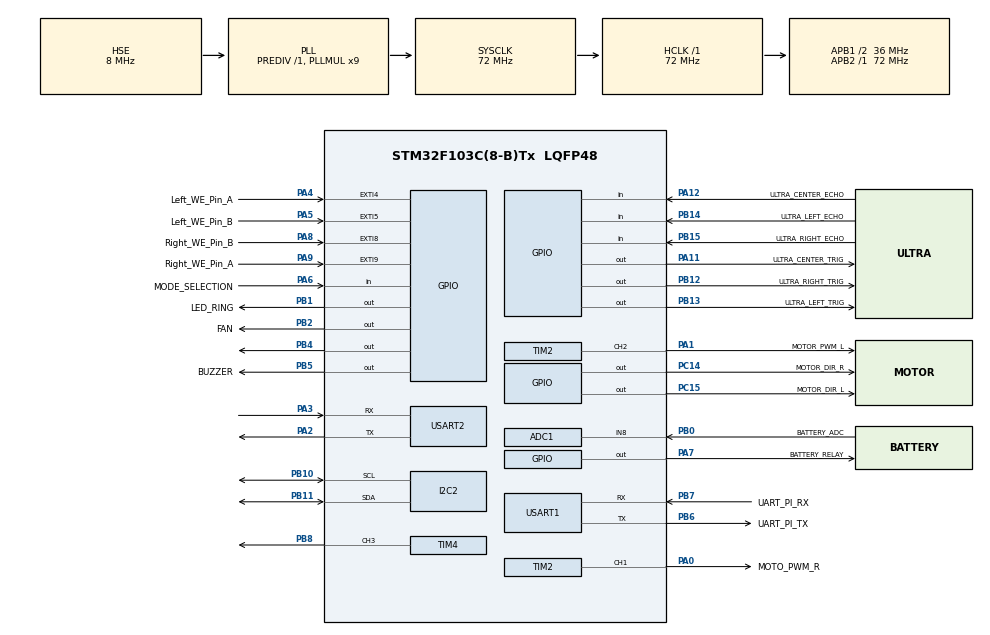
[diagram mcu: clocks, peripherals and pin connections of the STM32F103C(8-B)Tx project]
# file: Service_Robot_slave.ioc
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ADC1.Channel-0\#ChannelRegularConversion=ADC_CHANNEL_8
ADC1.NbrOfConversionFlag=1
ADC1.Rank-0\#ChannelRegularConversion=1
ADC1.SamplingTime-0\#ChannelRegularConversion=ADC_SAMPLETIME_1CYCLE_5
ADC1.master=1
Dma.Request0=TIM4_CH3
Dma.TIM4_CH3.0.Direction=DMA_MEMORY_TO_PERIPH
Dma.TIM4_CH3.0.Instance=DMA1_Channel5
Dma.TIM4_CH3.0.MemDataAlignment=DMA_MDATAALIGN_HALFWORD
Dma.TIM4_CH3.0.MemInc=DMA_MINC_ENABLE
Dma.TIM4_CH3.0.Mode=DMA_NORMAL
Dma.TIM4_CH3.0.PeriphDataAlignment=DMA_PDATAALIGN_HALFWORD
Dma.TIM4_CH3.0.PeriphInc=DMA_PINC_DISABLE
Dma.TIM4_CH3.0.Priority=DMA_PRIORITY_LOW
Mcu.Family=STM32F1
Mcu.Name=STM32F103C(8-B)Tx
Mcu.Package=LQFP48
NVIC.DMA1_Channel5_IRQn=true\:0\:0\:false\:false\:true\:false\:true\:true
NVIC.EXTI4_IRQn=true\:0\:0\:false\:false\:true\:true\:true\:true
NVIC.EXTI9_5_IRQn=true\:2\:0\:true\:false\:true\:true\:true\:true
NVIC.PriorityGroup=NVIC_PRIORITYGROUP_4
NVIC.TIM3_IRQn=true\:1\:0\:true\:false\:true\:true\:true\:true
NVIC.USART1_IRQn=true\:3\:0\:true\:false\:true\:true\:true\:true
NVIC.USART2_IRQn=true\:0\:0\:true\:false\:true\:true\:true\:true
PA0-WKUP.GPIO_Label=MOTO_PWM_R
PA0-WKUP.Signal=S_TIM2_CH1_ETR
PA1.GPIO_Label=MOTOR_PWM_L
PA1.Signal=S_TIM2_CH2
PA11.GPIO_Label=ULTRA_CENTER_TRIG
PA11.Signal=GPIO_Output
PA12.GPIO_Label=ULTRA_CENTER_ECHO
PA12.Signal=GPIO_Input
PA13.Mode=Serial_Wire
PA13.Signal=SYS_JTMS-SWDIO
PA14.Mode=Serial_Wire
PA14.Signal=SYS_JTCK-SWCLK
PA2.Mode=Asynchronous
PA2.Signal=USART2_TX
PA3.Mode=Asynchronous
PA3.Signal=USART2_RX
PA4.GPIO_Label=Left_WE_Pin_A
PA4.GPIO_ModeDefaultEXTI=GPIO_MODE_IT_RISING
PA4.Signal=GPXTI4
PA5.GPIO_Label=Left_WE_Pin_B
PA5.GPIO_ModeDefaultEXTI=GPIO_MODE_IT_RISING
PA5.Signal=GPXTI5
PA6.GPIO_Label=MODE_SELECTION
PA6.Signal=GPIO_Input
PA7.GPIO_Label=BATTERY_RELAY
PA7.Signal=GPIO_Output
PA8.GPIO_Label=Right_WE_Pin_B
PA8.GPIO_ModeDefaultEXTI=GPIO_MODE_IT_RISING
PA8.Signal=GPXTI8
PA9.GPIO_Label=Right_WE_Pin_A
PA9.Signal=GPXTI9
PB0.GPIO_Label=BATTERY_ADC
PB0.Signal=ADCx_IN8
PB1.GPIO_Label=LED_RING
PB1.Signal=GPIO_Output
PB10.Mode=I2C
PB10.Signal=I2C2_SCL
PB11.Mode=I2C
PB11.Signal=I2C2_SDA
PB12.GPIO_Label=ULTRA_RIGHT_TRIG
PB12.Signal=GPIO_Output
PB13.GPIO_Label=ULTRA_LEFT_TRIG
PB13.Signal=GPIO_Output
PB14.GPIO_Label=ULTRA_LEFT_ECHO
PB14.Signal=GPIO_Input
PB15.GPIO_Label=ULTRA_RIGHT_ECHO
PB15.Signal=GPIO_Input
PB2.GPIO_Label=FAN
PB2.Signal=GPIO_Output
PB4.Signal=GPIO_Output
PB5.GPIO_Label=BUZZER
PB5.Signal=GPIO_Output
PB6.GPIO_Label=UART_PI_TX
PB6.Mode=Asynchronous
PB6.Signal=USART1_TX
PB7.GPIO_Label=UART_PI_RX
PB7.Mode=Asynchronous
PB7.Signal=USART1_RX
PB8.Signal=S_TIM4_CH3
PC14-OSC32_IN.GPIO_Label=MOTOR_DIR_R
PC14-OSC32_IN.Signal=GPIO_Output
PC15-OSC32_OUT.GPIO_Label=MOTOR_DIR_L
PC15-OSC32_OUT.Signal=GPIO_Output
PD0-OSC_IN.Mode=HSE-External-Oscillator
PD0-OSC_IN.Signal=RCC_OSC_IN
PD1-OSC_OUT.Mode=HSE-External-Oscillator
PD1-OSC_OUT.Signal=RCC_OSC_OUT
ProjectManager.HeapSize=0x200
ProjectManager.StackSize=0x400
ProjectManager.TargetToolchain=STM32CubeIDE
RCC.ADCPresc=RCC_ADCPCLK2_DIV6
RCC.AHBFreq_Value=72000000
RCC.APB1CLKDivider=RCC_HCLK_DIV2
RCC.APB1Freq_Value=36000000
RCC.APB1TimFreq_Value=72000000
RCC.APB2Freq_Value=72000000
RCC.APB2TimFreq_Value=72000000
RCC.HCLKFreq_Value=72000000
RCC.PLLMUL=RCC_PLL_MUL9
RCC.PLLSourceVirtual=RCC_PLLSOURCE_HSE
RCC.SYSCLKFreq_VALUE=72000000
RCC.SYSCLKSource=RCC_SYSCLKSOURCE_PLLCLK
RCC.USBFreq_Value=72000000
SH.ADCx_IN8.0=ADC1_IN8,IN8
SH.S_TIM2_CH1_ETR.0=TIM2_CH1,PWM Generation1 CH1
SH.S_TIM2_CH2.0=TIM2_CH2,PWM Generation2 CH2
SH.S_TIM4_CH3.0=TIM4_CH3,PWM Generation3 CH3
TIM1.Prescaler=72 - 1
TIM2.Channel-PWM\ Generation1\ CH1=TIM_CHANNEL_1
TIM2.Channel-PWM\ Generation2\ CH2=TIM_CHANNEL_2
TIM2.Period=100
TIM2.Prescaler=28.8 - 1
TIM2.Pulse-PWM\ Generation1\ CH1=50
TIM3.AutoReloadPreload=TIM_AUTORELOAD_PRELOAD_ENABLE
TIM3.Period=7200
TIM3.Prescaler=1000
TIM4.Channel-PWM\ Generation3\ CH3=TIM_CHANNEL_3
TIM4.Period=90-1
USART1.VirtualMode=VM_ASYNC
USART2.VirtualMode=VM_ASYNC
VP_TIM1_VS_ClockSourceINT.Mode=Internal
VP_TIM2_VS_ClockSourceINT.Mode=Internal
VP_TIM3_VS_ClockSourceINT.Mode=Internal
VP_TIM4_VS_ClockSourceINT.Mode=Internal
board=custom

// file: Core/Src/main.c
/* USER CODE BEGIN Header */
/**
 ******************************************************************************
 * @file           : main.c
 * @brief          : Main program body
 ******************************************************************************
 * @attention
 *
 * <h2><center>&copy; Copyright (c) 2022 STMicroelectronics.
 * All rights reserved.</center></h2>
 *
 * This software component is licensed by ST under BSD 3-Clause license,
 * the "License"; You may not use this file except in compliance with the
 * License. You may obtain a copy of the License at:
 *                        opensource.org/licenses/BSD-3-Clause
 *
 ******************************************************************************
 */
/* USER CODE END Header */
#include "main.h"
#include "adc.h"
#include "dma.h"
#include "i2c.h"
#include "tim.h"
#include "usart.h"
#include "gpio.h"

/* USER CODE BEGIN Includes */
#include "HSCR04.h"
#include "stdio.h"
#include "rgb.h"
#include "MPU6050.h"
#include "ring_buffer.h"
#include "stdio.h"
#include "string.h"
#include <stdbool.h>

/* USER CODE END Includes */

/* USER CODE BEGIN PTD */
uint16_t center_ultra();
#define TRIG_PIN GPIO_PIN_11
#define TRIG_PORT GPIOA
#define ECHO_PIN GPIO_PIN_12
#define ECHO_PORT GPIOA
#define DHT11_PORT GPIOB
#define DHT11_PIN GPIO_PIN_4

/* USER CODE END PTD */

/* USER CODE BEGIN PV */

Mpu6050_Data IMU_Data;

uint16_t right_ultrasonic_data, centre_ultrasonic_data, left_ultrasonic_data;
uint16_t RHI, RHD, TCI, TCD, SUM;
uint32_t pMill, cMill;
uint8_t rx_frame[25], rx_print_frame[25];
uint8_t tx_frame[22]={0xF7, 0xF6, 0x00, 0x00, 0xF1, 0x00, 0x00, 0x00, 0x09, 0x00, 0x08, 0x00, 0x00, 0x00, 0x00, 0x00, 0x00, 0x00, 0x00, 0x00, 0x00, 0xF8};
uint8_t rec_flag=0, packetType=0;
int frame_length=0;

uint16_t PSN=0;
uint8_t PSN_INDEX;
uint8_t rgb_flag;
char string[50];
int left_forward_pulse_count, left_reverse_pulse_count, right_forward_pulse_count, right_reverse_pulse_count;
int left_forward_turns, left_reverse_turns, right_forward_turns, right_reverse_turns, right_ticks, left_ticks;
uint8_t left_state, left_PrevState = 0, right_state, right_PrevState = 0;

/* USER CODE END PV */

void SystemClock_Config(void);
/* USER CODE BEGIN PFP */

Frame_Status validate_frame(uint8_t *frame);
void sendResponse(uint8_t *frame, uint8_t resp_type);
void ResponseCallBack(uint8_t *frame);
uint8_t GetUltrasonicData(uint8_t SensorID);
uint8_t GetBMM150MagnetoMeterData(void);
uint8_t GetTemperatureData(void);
uint8_t GetOdometerData(void);
uint8_t GetIMUData(void);
uint8_t GetProximityData(void);
uint8_t GetHallSensorData(void);
uint8_t GetDoorSensorData(void);
uint8_t GetWheelEncoderData(void);
uint8_t GetRainSensorData(void);
uint8_t GetBuzzerData(void);
uint8_t GetFanData(void);
uint8_t GetLimitSwitchData(void);
uint8_t GetLEDStripData(void);
uint8_t GetRelayData(void);

void LeftMotor_forward ();
void LeftMotor_reverse ();
void RightMotor_forward ();
void RightMotor_reverse ();

/* USER CODE END PFP */

/* USER CODE BEGIN 0 */
void Error_Handler(void);
// Define initialization flag
bool isFirstStartup = true;

/* USER CODE END 0 */

uint8_t data_1[] = "For\r";
uint8_t data_2[] = "Rev\r";

#ifdef __GNUC__
#define PUTCHAR_PROTOTYPE int __io_putchar(int ch)
#else
#define PUTCHAR_PROTOTYPE int fputc(int ch, FILE *f)
#endif

PUTCHAR_PROTOTYPE
{
  HAL_UART_Transmit(&huart2, (uint8_t *)&ch, 1, HAL_MAX_DELAY);
  return ch;
}

void microDelay (uint16_t delay)
{
  __HAL_TIM_SET_COUNTER(&htim1, 0);
  while (__HAL_TIM_GET_COUNTER(&htim1) < delay);
}

uint8_t DHT11_Start (void)
{
  uint8_t Response = 0;
  GPIO_InitTypeDef GPIO_InitStructPrivate = {0};
  GPIO_InitStructPrivate.Pin = DHT11_PIN;
  GPIO_InitStructPrivate.Mode = GPIO_MODE_OUTPUT_PP;
  GPIO_InitStructPrivate.Speed = GPIO_SPEED_FREQ_LOW;
  GPIO_InitStructPrivate.Pull = GPIO_NOPULL;
  HAL_GPIO_Init(DHT11_PORT, &GPIO_InitStructPrivate); // set the pin as output
  HAL_GPIO_WritePin (DHT11_PORT, DHT11_PIN, 0);   // pull the pin low
  HAL_Delay(20);   // wait for 20ms
  HAL_GPIO_WritePin (DHT11_PORT, DHT11_PIN, 1);   // pull the pin high
  microDelay (30);   // wait for 30us
  GPIO_InitStructPrivate.Mode = GPIO_MODE_INPUT;
  GPIO_InitStructPrivate.Pull = GPIO_PULLUP;
  HAL_GPIO_Init(DHT11_PORT, &GPIO_InitStructPrivate); // set the pin as input
  microDelay (40);
  if (!(HAL_GPIO_ReadPin (DHT11_PORT, DHT11_PIN)))
  {
    microDelay (80);
    if ((HAL_GPIO_ReadPin (DHT11_PORT, DHT11_PIN))) Response = 1;
  }
  pMill = HAL_GetTick();
  cMill = HAL_GetTick();
  while ((HAL_GPIO_ReadPin (DHT11_PORT, DHT11_PIN)) && pMill + 2 > cMill)
  {
    cMill = HAL_GetTick();
  }
  return Response;
}

uint8_t DHT11_Read (void)
{
  uint8_t a,b;
  for (a=0;a<8;a++)
  {
    pMill = HAL_GetTick();
    cMill = HAL_GetTick();
    while (!(HAL_GPIO_ReadPin (DHT11_PORT, DHT11_PIN)) && pMill + 2 > cMill)
    {  // wait for the pin to go high
      cMill = HAL_GetTick();
    }
    microDelay (40);   // wait for 40 us
    if (!(HAL_GPIO_ReadPin (DHT11_PORT, DHT11_PIN)))   // if the pin is low
      b&= ~(1<<(7-a));
    else
      b|= (1<<(7-a));
    pMill = HAL_GetTick();
    cMill = HAL_GetTick();
    while ((HAL_GPIO_ReadPin (DHT11_PORT, DHT11_PIN)) && pMill + 2 > cMill)
    {  // wait for the pin to go low
      cMill = HAL_GetTick();
    }
  }
  return b;
}

void DHT11_Data()
{
	        RHI = DHT11_Read(); // Relative humidity integral
	        RHD = DHT11_Read(); // Relative humidity decimal
	        TCI = DHT11_Read(); // Celsius integral
	        TCD = DHT11_Read(); // Celsius decimal
	        SUM = DHT11_Read(); // Check sum
	        if (RHI + RHD + TCI + TCD == SUM)
	        {
	          // Can use RHI and TCI for any purposes if whole number only needed
//	          tCelsius = (float)TCI + (float)(TCD/10.0);
//	          tFahrenheit = tCelsius * 9/5 + 32;
//	          RH = (float)RHI + (float)(RHD/10.0);

	          // Convert temperature and humidity to strings
	            sprintf(string, "Temperature: %d.%d C\r\n", TCI, TCD);
	            //sprintf(hum_str, "Humidity: %.2f%%\r\n", RH);

	            // Send temperature and humidity data over UART1
//	              UART1_Send((uint8_t *)temp_str, strlen(temp_str));
//	              UART1_Send((uint8_t *)hum_str, strlen(hum_str));
	            HAL_UART_Transmit(&huart2, (uint8_t *)string, strlen(string), HAL_MAX_DELAY);

	          // Can use tCelsius, tFahrenheit and RH for any purposes
	        }
}

int main(void)
{

  /* MCU Configuration--------------------------------------------------------*/

  /* Reset of all peripherals, Initializes the Flash interface and the Systick. */
  HAL_Init();

  /* USER CODE BEGIN Init */
  PSN=0;
  left_forward_pulse_count=0, left_reverse_pulse_count=0,right_forward_pulse_count=0,right_reverse_pulse_count=0;
  left_forward_turns=0, left_reverse_turns=0, right_forward_turns=0,right_reverse_turns=0;
  left_ticks=0,right_ticks=0;
  /* USER CODE END Init */

  /* Configure the system clock */
  SystemClock_Config();

  /* Initialize all configured peripherals */
  MX_GPIO_Init();
  MX_DMA_Init();
  MX_ADC1_Init();
  MX_TIM2_Init();
  MX_USART1_UART_Init();
  MX_USART2_UART_Init();
  MX_TIM1_Init();
  MX_TIM3_Init();
  MX_TIM4_Init();
  MX_I2C2_Init();
  /* USER CODE BEGIN 2 */

  Ringbuf_init();

  /* RGB */
  Set_Brightness(10);
  Set_RGB_Red();

  MPU6050_Init();

  /*	Ultrasonic */
   HAL_GPIO_WritePin(GPIOA, GPIO_PIN_11, GPIO_PIN_SET);
   HAL_Delay(300);
   HAL_GPIO_WritePin(GPIOA, GPIO_PIN_11, GPIO_PIN_SET);
   HAL_TIM_Base_Start(&htim1);
   HAL_GPIO_WritePin(TRIG_PORT, TRIG_PIN, GPIO_PIN_RESET);

  /* Pi console and Debug console test*/
  HAL_UART_Transmit_IT(&huart1, "Debug console is ready", sizeof("Debug console is ready"));
  //printf("Pi Console is ready");
 HAL_UART_Transmit_IT(&huart2, "Pi console is ready", sizeof("Pi console is ready"));

  /* 100ms timer */
  HAL_TIM_Base_Start_IT(&htim3);

  /* Motor PWM Motor */
  HAL_TIM_Base_Start(&htim2);
  HAL_TIM_PWM_Start(&htim2,TIM_CHANNEL_1);
  HAL_TIM_PWM_Start(&htim2,TIM_CHANNEL_2);

  // Reset Motor PWM at the begining
  __HAL_TIM_SET_COMPARE(&htim2,TIM_CHANNEL_2,0);
  __HAL_TIM_SET_COMPARE(&htim2,TIM_CHANNEL_1,0);

  Set_RGB_Yellow();
  //HAL_UART_Receive_IT(&huart2, rx_frame, 15);

  //** MPU Test Prints *//
  //MPU6050_Read_Accel(&IMU_Data);
  //HAL_Delay(100);
  //MPU6050_Read_Gyro(&IMU_Data);
  //HAL_Delay(1000);

  /* USER CODE END 2 */

  /* Infinite loop */
	while (1)
	{

    /* USER CODE BEGIN 3 */

		/*
		 * Below are all the test prints for sensors
		 */

		/* Wheel encoder prints */

//		if(left_forward_turns>=left_reverse_turns)
//			left_ticks = left_forward_turns - left_reverse_turns;
//		else
//			left_ticks = left_reverse_turns - left_forward_turns;
//
//		if(right_forward_turns >= right_reverse_turns)
//			right_ticks = right_forward_turns - right_reverse_turns;
//		else
//			right_ticks = right_reverse_turns - right_forward_turns;

//		HAL_UART_Transmit(&huart1, (uint8_t *)string, sprintf(string, "left:forward pulse count:%d\n",left_forward_pulse_count),10);
//		HAL_UART_Transmit(&huart1, (uint8_t *)string, sprintf(string, "left:reverse pulse count:%d\n",left_reverse_pulse_count),10);
//		HAL_UART_Transmit(&huart1, (uint8_t *)string, sprintf(string, "right:forward pulse count:%d\n",right_forward_pulse_count),10);
//		HAL_UART_Transmit(&huart1, (uint8_t *)string, sprintf(string, "right:reverse pulse count:%d\n",right_reverse_pulse_count),10);

//		HAL_UART_Transmit(&huart1, (uint8_t *)string, sprintf(string, "Left Ticks:%d\n",left_ticks),10);
//		HAL_UART_Transmit(&huart1, (uint8_t *)string, sprintf(string, "Right Ticks:%d\n",right_ticks),10);

//		HAL_UART_Transmit(&huart1, (uint8_t *)string, sprintf(string, "Left forward turns:%d\n",left_forward_turns),10);
//		HAL_UART_Transmit(&huart1, (uint8_t *)string, sprintf(string, "Left reverse turns:%d\n",left_reverse_turns),10);
//		HAL_UART_Transmit(&huart1, (uint8_t *)string, sprintf(string, "Right forward turns:%d\n",right_forward_turns),10);
//		HAL_UART_Transmit(&huart1, (uint8_t *)string, sprintf(string, "Right reverse turns:%d\n",right_reverse_turns),10);

		/*
		 * Ultrasonic Test Codes
		 */
//
//		left_ultrasonic_data = Left_ultra();
//		HAL_UART_Transmit(&huart1, (uint8_t *)string, sprintf(string, "Left Ultrasonic Data:%d\n",left_ultrasonic_data), 100);
//		HAL_Delay(100);
//////
//		right_ultrasonic_data = right_ultra();
//		HAL_UART_Transmit(&huart1, (uint8_t *)string, sprintf(string, "Right Ultrasonic Data:%d\n",right_ultrasonic_data), 100);
//		HAL_Delay(100);
//
//		centre_ultrasonic_data = center_ultra();
//		HAL_UART_Transmit(&huart1, (uint8_t *)string, sprintf(string, "Centre Ultrasonic Data:%d\n",centre_ultrasonic_data), 100);
//		HAL_Delay(100);

		while(IsDataAvailable()){

		rx_frame[frame_length]=Uart_read();
		rx_print_frame[frame_length]=rx_frame[frame_length];
		if(rx_frame[10]==0x10)
		{
			right_ticks=0;
			left_ticks=0;
		}
		if (rx_frame[6]==0x10)
		{
			// Reseting the wheel encoder data
		left_forward_pulse_count, left_reverse_pulse_count, right_forward_pulse_count, right_reverse_pulse_count=0;
		left_forward_turns, left_reverse_turns, right_forward_turns, right_reverse_turns, right_ticks, left_ticks=0;
		}
		if(rx_frame[frame_length] == 0xF8)
		{
			// Print the received data from Pi
//			 HAL_UART_Transmit_IT(&huart1, rx_print_frame, (frame_length+1));
//			 HAL_Delay(7);

			// Storing packet type for further processing
			packetType = rx_frame[4];

			// Validate Frame
			uint8_t frameStatus=validate_frame(rx_frame);

			//sendResponse(rx_frame, frameStatus);
		    if((frameStatus==Frame_Success) && (packetType==CMD))
			{

		    	ResponseCallBack(rx_frame);
				//sendResponse(rx_frame, RESP);
			}

			frame_length=0;
		}
		else
		{
			frame_length++;
		}
		}

		      float R1 = 30000.0;
			  float R2 = 4664.0;
			  HAL_ADC_Start(&hadc1);

			  // Wait for ADC conversion to complete
			  if (HAL_ADC_PollForConversion(&hadc1, HAL_MAX_DELAY) != HAL_OK) {
			      // ADC conversion error
			      continue; // Skip this iteration and try again
			  }

			  // Read ADC value
			  uint16_t sensorValue = HAL_ADC_GetValue(&hadc1);

			  // Calculate voltage using voltage divider circuit
			  // Assuming Vref = 3.3V
			  float voltage = (float)sensorValue * (3.28f / 4095.0f); // Convert ADC value to voltage

			  // Calculate actual battery voltage using voltage divider formula
			  // Vbattery = Vadc * (R1 + R2) / R2
			  float actualBatteryVoltage = voltage * ((R1 + R2) / R2);
			  // Calculate battery percentage within the range of 1.2V to 20.8V
			  float minVoltage = 20.45f;
			  float maxVoltage =22.11f;
			  float pct;

			  if (actualBatteryVoltage <= minVoltage) {
			      pct = 0.0f;
			  } else if (actualBatteryVoltage >= maxVoltage) {
			      pct = 100.0f;
			  } else {
			      pct = ((actualBatteryVoltage - minVoltage) / (maxVoltage - minVoltage)) * 100.0f;
			  }
			  // Store the percentages in an array
			      static float percentages[7] = {0}; // Array to store three percentages
			      static uint8_t index = 0; // Index to keep track of the current reading

			      percentages[index] = pct; // Store the current percentage
			      index = (index + 1)%7; // Increment index

			      // Calculate the average percentage
			      float sum = 0.0f;
			      for (int i = 0; i < 7; i++) {
			          sum += percentages[i];
			      }
			      float avgPercentage = sum / 7.0f;
//			      // The modulus operator helps achieve this cyclic behavior.If index is 18 and you add 1 to it, you get 19.
			      //If you add 1 to 19 and take the remainder when dividing by 20, you get 0, which wraps back around to the start of the array.
			      //This ensures that index stays within the valid range of array indices, preventing it from going out of bounds.
			      // Apply software filter to smooth out fluctuations
//			      static float avgPercentage = 0.0f;
//			      float smoothingFactor = 0.2f; //  smoothing factor
//			      avgPercentage = (smoothingFactor * avgPercentage1) + ((1.0f - smoothingFactor) * avgPercentage);
			      // Calculate the average percentage
			      //int avgPercentage = (percentages[0] + percentages[1] + percentages[2]) / 3;
			  // Print voltage and percentage
			   static float prevPercentage = 0.0f;
			  const float threshold = 3.0f;
			  // Check if the new percentage is within the acceptable range of the previous value
			  float diff = fabs(avgPercentage - prevPercentage);
			  if (diff <= threshold) {
			      // If the difference is within the threshold, use the previous value
			      avgPercentage = prevPercentage;
			  }

			  // Store the current percentage for the next iteration
			  prevPercentage = avgPercentage;
			  char msg[100];
			  //sprintf(msg, "Measured Voltage: %.2f V, Actual Battery Voltage: %.2f V, Battery Percentage: %.2f%%\n", voltage, actualBatteryVoltage, pct);
		      //sprintf(msg, "Percentage: %d %%\r\n", avgPercentage);
			  sprintf(msg, "Percentage: %.1f %%\r\n",avgPercentage);
			  HAL_UART_Transmit(&huart2, (uint8_t *)msg, strlen(msg), HAL_MAX_DELAY);
			  sprintf(msg, "Actual Battery Voltage: %.2f V\r\n", actualBatteryVoltage);
			  HAL_UART_Transmit(&huart2, (uint8_t *)msg, strlen(msg), HAL_MAX_DELAY);
			  if(DHT11_Start())
			  {
				  DHT11_Data();
			  }
			  // If it's the first startup, set the flag to false after the first iteration
			     if (isFirstStartup) {
			         isFirstStartup = false;
			     }
			  // Delay before next iteration
			  HAL_Delay(5000); // Adjust the delay as needed
	}
  /* USER CODE END 3 */
}

void SystemClock_Config(void)
{
  RCC_OscInitTypeDef RCC_OscInitStruct = {0};
  RCC_ClkInitTypeDef RCC_ClkInitStruct = {0};
  RCC_PeriphCLKInitTypeDef PeriphClkInit = {0};

  /** Initializes the RCC Oscillators according to the specified parameters
  * in the RCC_OscInitTypeDef structure.
  */
  RCC_OscInitStruct.OscillatorType = RCC_OSCILLATORTYPE_HSE;
  RCC_OscInitStruct.HSEState = RCC_HSE_ON;
  RCC_OscInitStruct.HSEPredivValue = RCC_HSE_PREDIV_DIV1;
  RCC_OscInitStruct.HSIState = RCC_HSI_ON;
  RCC_OscInitStruct.PLL.PLLState = RCC_PLL_ON;
  RCC_OscInitStruct.PLL.PLLSource = RCC_PLLSOURCE_HSE;
  RCC_OscInitStruct.PLL.PLLMUL = RCC_PLL_MUL9;
  if (HAL_RCC_OscConfig(&RCC_OscInitStruct) != HAL_OK)
  {
    Error_Handler();
  }

  /** Initializes the CPU, AHB and APB buses clocks
  */
  RCC_ClkInitStruct.ClockType = RCC_CLOCKTYPE_HCLK|RCC_CLOCKTYPE_SYSCLK
                              |RCC_CLOCKTYPE_PCLK1|RCC_CLOCKTYPE_PCLK2;
  RCC_ClkInitStruct.SYSCLKSource = RCC_SYSCLKSOURCE_PLLCLK;
  RCC_ClkInitStruct.AHBCLKDivider = RCC_SYSCLK_DIV1;
  RCC_ClkInitStruct.APB1CLKDivider = RCC_HCLK_DIV2;
  RCC_ClkInitStruct.APB2CLKDivider = RCC_HCLK_DIV1;

  if (HAL_RCC_ClockConfig(&RCC_ClkInitStruct, FLASH_LATENCY_2) != HAL_OK)
  {
    Error_Handler();
  }
  PeriphClkInit.PeriphClockSelection = RCC_PERIPHCLK_ADC;
  PeriphClkInit.AdcClockSelection = RCC_ADCPCLK2_DIV6;
  if (HAL_RCCEx_PeriphCLKConfig(&PeriphClkInit) != HAL_OK)
  {
    Error_Handler();
  }
}

/* USER CODE BEGIN 4 */

void HAL_TIM_PeriodElapsedCallback(TIM_HandleTypeDef* htim)
{

	//rainbow_effect_left();
	//HAL_UART_Transmit_IT(&huart2, "1000", sizeof("1000"));
	//HAL_UART_Transmit(&huart2, 10, 22,25);

	tx_frame[14]=tx_frame[13]=tx_frame[15]=tx_frame[16]=tx_frame[17]=tx_frame[18]=0x00;

	//test dummy data://
	//centre_ultrasonic_data =0x9B98;
/*	centre_ultrasonic_data = center_ultra();
	tx_frame[12] = (uint8_t) (centre_ultrasonic_data & 0x00FF);
	tx_frame[11] = (uint8_t) ((centre_ultrasonic_data & 0xFF00)>>8);
	tx_frame[5]  = 0x01;
	tx_frame[6]  = 0x01;

	//HAL_UART_Transmit(&huart2, tx_frame, 22,25);
	//HAL_Delay(7);

	//test dummy data://
	//right_ultrasonic_data =0x9B98;
	right_ultrasonic_data = right_ultra();
	tx_frame[12] = (uint8_t) (right_ultrasonic_data & 0x00FF);
	tx_frame[11] = (uint8_t) ((right_ultrasonic_data & 0xFF00)>>8);
	tx_frame[6]  = 0x02;

	//HAL_UART_Transmit(&huart2, tx_frame, 22,25);
	//HAL_Delay(7);

	//test dummy data:
	//left_ultrasonic_data = 0x9B97;
	left_ultrasonic_data = Left_ultra();
	tx_frame[12] = (uint8_t) (left_ultrasonic_data & 0x00FF);
	tx_frame[11] = (uint8_t) ((left_ultrasonic_data & 0xFF00)>>8);
	tx_frame[6]  = 0x03;

	//HAL_UART_Transmit(&huart2, tx_frame, 22,25);
	//HAL_Delay(7);
*/

	tx_frame[11]=0;
	tx_frame[15]=0;
	tx_frame[12]=tx_frame[13]=tx_frame[14]=tx_frame[16]=tx_frame[17]=tx_frame[18]=0;

	// Update sensor type and ID
	tx_frame[5]  = 0x02;
	tx_frame[6]  = 0x00;

	if(left_forward_turns>=left_reverse_turns)
	{
		tx_frame[15] = 0x0;
		left_ticks = left_forward_turns - left_reverse_turns;

	}
	else
	{
		tx_frame[15] = 0x1;
		left_ticks = left_reverse_turns - left_forward_turns;

	}

	if(right_forward_turns >= right_reverse_turns)
	{
		tx_frame[11] = 0x0;
		right_ticks = right_forward_turns - right_reverse_turns;

	}
	else
	{
		tx_frame[11] = 0x1;
		right_ticks = right_reverse_turns - right_forward_turns;

	}

	/*tx_frame[14] = (uint8_t) (right_ticks & 0x000000FF);
	tx_frame[13] = (uint8_t) ((right_ticks & 0x0000FF00)>>8);
	tx_frame[12] = (uint8_t) ((right_ticks & 0x00FF0000)>>16);

	tx_frame[18] = (uint8_t) (left_ticks & 0x000000FF);
	tx_frame[17] = (uint8_t) ((left_ticks & 0x0000FF00)>>8);
	tx_frame[16] = (uint8_t) ((left_ticks & 0x00FF0000)>>16);*/
//char buffer[16];
	//int i = 15;
	//left_ticks=50;
	//right_ticks=30;
	//printf("Hi");
	HAL_Delay(10);
 // uint8_t wheelEncoder[]={right_forward_turns,right_reverse_turns,left_forward_turns,left_reverse_turns};
 // HAL_UART_Transmit (&huart2, wheelEncoder, sizeof (wheelEncoder), HAL_MAX_DELAY);

  	  	  //int data[] = {right_forward_turns, right_reverse_turns, left_forward_turns, left_reverse_turns};
			int data[] = {right_forward_pulse_count, right_reverse_pulse_count, left_forward_pulse_count, left_reverse_pulse_count};
  	      char buffer[50];  // Adjust the buffer size accordingly

  	      // Convert integers to string
  	      //int len = sprintf(buffer, "%d,%d,%d,%d\n", data[0], data[1], data[2], data[3]);
			int len = sprintf(buffer, "%d,%d,%d,%d\n", data[0], data[1], data[2], data[3]);
  	      // Send data over UART
  	      HAL_UART_Transmit(&huart2, (uint8_t *)buffer, len, HAL_MAX_DELAY);

  //HAL_UART_Transmit_IT(&huart2, "Right_Wheel_Forward_turn\n", sizeof("Right_Wheel_Forward_turn\n"));
  //	HAL_UART_Transmit (&huart2, data_1, sizeof (data_1), 10);
	//HAL_Delay(1);
//	uint8_t data[] = "RIGHT_WHEEL_FORWARD \r\n";
//
//	HAL_UART_Transmit (&huart2, data, sizeof (data), 10);
	//HAL_UART_Transmit(&huart2, (uint8_t*)buffer, sprintf(buffer, "%d\n", right_forward_turns), 500);
//	HAL_Delay(3);
	//HAL_UART_Transmit_IT(&huart2, "Right_Wheel_Reverse_turn\n", sizeof("Right_Wheel_Reverse_turn\n"));
//	HAL_UART_Transmit (&huart2, data_2, sizeof (data_2), 10);
//	uint8_t data2[] = "RIGHT_WHEEL_REVERSE \r\n";
//
//	HAL_UART_Transmit (&huart2, data2, sizeof (data2), 10);
	//HAL_UART_Transmit(&huart2, (uint8_t*)buffer, sprintf(buffer, "%d\r\n", right_reverse_turns), 500);
//	HAL_Delay(3);
//
//
//	uint8_t data3[] = "LEFT_WHEEL_FORWARD \r\n";
//
//	HAL_UART_Transmit (&huart2, data3, sizeof (data3), 10);
	//HAL_UART_Transmit(&huart2, (uint8_t*)buffer, sprintf(buffer, "%d\r\n", left_forward_turns), 500);
//	HAL_Delay(3);
//	//HAL_UART_Transmit_IT(&huart2, "Left_Wheel_Reverse_turn\n", sizeof("Left_Wheel_Reverse_turn\n"));
//	uint8_t data4[] = "LEFT_WHEEL_REVERSE \r\n";
//
//	HAL_UART_Transmit (&huart2, data4, sizeof (data4), 10);
//	HAL_UART_Transmit(&huart2, (uint8_t*)buffer, sprintf(buffer, "%d\r\n", left_reverse_turns), 500);
	/*While run on main application we need to change the right forward pulse count and right_reverse_pulse count to right and left ticks*/
	//HAL_UART_Transmit_IT(&huart1, "Narsi\r\n", sizeof("Narsi\r\n"));
	//HAL_UART_Transmit(&huart2, 1000, 1,25);
	HAL_Delay(3);

}

void HAL_GPIO_EXTI_Callback(uint16_t GPIO_Pin)
{
	//HAL_UART_Transmit(&huart1, "Debug int console ", sizeof("Debug int console "),10);

	if (GPIO_Pin == Right_WE_Pin_A_Pin && HAL_GPIO_ReadPin(GPIOA,Right_WE_Pin_B_Pin) == GPIO_PIN_RESET)
	{
		right_forward_pulse_count++;

//		if(right_forward_pulse_count>=420)
//		{
//			right_forward_turns++;
//			right_forward_pulse_count=0;
//		}

//	if (right_forward_pulse_count>=420)
//	{
//		right_forward_pulse_count=0;
//		__HAL_TIM_SET_COMPARE(&htim2,TIM_CHANNEL_2,0);
//		__HAL_TIM_SET_COMPARE(&htim2,TIM_CHANNEL_1,0);
//	}

	}
	else if(GPIO_Pin == Right_WE_Pin_B_Pin && HAL_GPIO_ReadPin(GPIOA, Right_WE_Pin_A_Pin) == GPIO_PIN_SET)
	{

	}
	else if(GPIO_Pin == Right_WE_Pin_B_Pin && HAL_GPIO_ReadPin(GPIOA, Right_WE_Pin_A_Pin) == GPIO_PIN_RESET)
	{
		right_reverse_pulse_count++;

//		if(right_reverse_pulse_count>=420)
//		{
//				right_reverse_turns++;
//				right_reverse_pulse_count=0;
//		}

//		if (right_reverse_pulse_count>=2100)
//		{
//			right_reverse_pulse_count=0;
//			__HAL_TIM_SET_COMPARE(&htim2,TIM_CHANNEL_2,0);
//			__HAL_TIM_SET_COMPARE(&htim2,TIM_CHANNEL_1,0);
//		}
	}
	else if(GPIO_Pin == Right_WE_Pin_A_Pin && HAL_GPIO_ReadPin(GPIOA, Right_WE_Pin_B_Pin) == GPIO_PIN_SET)
	{

	}
	else if(GPIO_Pin == Left_WE_Pin_A_Pin && HAL_GPIO_ReadPin(GPIOA, Left_WE_Pin_B_Pin) == GPIO_PIN_SET)
	{
		left_forward_pulse_count++;
//		if (left_forward_pulse_count >= 420)
//		{
//			left_forward_turns++;
//			left_forward_pulse_count=0;
//		}

//		if(left_forward_pulse_count>=2100)
//		{
//			left_forward_pulse_count=0;
//				__HAL_TIM_SET_COMPARE(&htim2,TIM_CHANNEL_2,0);
//				__HAL_TIM_SET_COMPARE(&htim2,TIM_CHANNEL_1,0);
//		}

	}
	else if(GPIO_Pin == Left_WE_Pin_B_Pin && HAL_GPIO_ReadPin(GPIOA, Left_WE_Pin_A_Pin) == GPIO_PIN_RESET)
	{

	}
	else if(GPIO_Pin == Left_WE_Pin_B_Pin && HAL_GPIO_ReadPin(GPIOA, Left_WE_Pin_A_Pin) == GPIO_PIN_SET)
	{
		left_reverse_pulse_count++;

//		if(left_reverse_pulse_count >= 420)
//		{
//			left_reverse_turns++;
//			left_reverse_pulse_count=0;
//		}
//		if(left_reverse_pulse_count>=2100)
//		{
//			left_reverse_pulse_count=0;
//			__HAL_TIM_SET_COMPARE(&htim2,TIM_CHANNEL_2,0);
//			__HAL_TIM_SET_COMPARE(&htim2,TIM_CHANNEL_1,0);
//		}
	}
	else if(GPIO_Pin == Left_WE_Pin_A_Pin && HAL_GPIO_ReadPin(GPIOA, Left_WE_Pin_B_Pin) == GPIO_PIN_RESET)
	{

	}

//	switch(GPIO_Pin)
//	{
//		case Right_WE_Pin_A_Pin:
//			if(HAL_GPIO_ReadPin(GPIOA,Right_WE_Pin_B_Pin) == GPIO_PIN_RESET)
//			{
//				right_forward_pulse_count++;
//			}
//	}
}

void sendResponse(uint8_t *frame, uint8_t frame_type)
{
	PSN++;
	frame[2] = (uint8_t)(PSN & 0xFF00);
	frame[3] = (uint8_t)(PSN & 0x00FF);

	frame[4] = frame_type;
	//HAL_UART_Transmit_IT(&huart2, frame, 15);
}

Frame_Status validate_frame(uint8_t frame[])
{
	//HAL_UART_Transmit(&huart1, "debug:amInValidate", sizeof("debug:amInValidate"),100);
	int i=1;
	switch(i)
	{
		case 1:
			if(frame[0]==0xF6)
				i++;
			else
				return Invalid_frame;
		case 2:
			if(frame[1]==0xF7)
				i++;
			else
				return Invalid_frame;
		case 3:
			if(frame[4]==0xF0 || frame[4]== 0xF2 || frame[4]==0xF3)
				i++;
			else
				return Invalid_Packet_Type;
		case 4:
			if(frame[5]>=0 && frame[5]<=0x0F)
				i++;
			else
				return Invalid_Sensor_Type;
		case 5:
			if(frame[6]>=0 && frame[6]<=0x04)
				i++;
			else
				return Invalid_Sensor_ID;
		case 6:
			if(frame[7]>=0 && frame[7]<=0x0F)
				i++;
			else
				return Invalid_Function_ID;
		case 7:
			if(frame[14]==0xF8)
				return Frame_Success;
			else
				return Invalid_frame;
	}
}

/*
CRC_Check()
{

}
*/

void ResponseCallBack(uint8_t *frame)
{
	switch(frame[5])
	{
	case 1:
		rx_frame[10]=GetUltrasonicData(frame[6]);
		break;
	case 2:
		rx_frame[10]=GetBMM150MagnetoMeterData();
		break;
	case 3:
		rx_frame[10]=GetTemperatureData();
		break;
	case 4:
		rx_frame[10]=GetIMUData();
		break;
	case 5:
		rx_frame[10]=GetProximityData();
		break;
	case 6:
		rx_frame[10]=GetWheelEncoderData();
		break;
	case 7:
		rx_frame[10]=GetLimitSwitchData();
		break;
	case 8:
	{
		if (frame[6]==0x00)
		{
			HAL_TIM_Base_Stop_IT(&htim3);
		}
		else if (frame[6]==0x01)
			HAL_TIM_Base_Start_IT(&htim3);
		break;
	}
	case 9:
	{
		//HAL_UART_Transmit_IT(&huart1, (uint8_t*)"hellom",6);
		uint8_t left_dir = frame[10]&0x80;
		uint8_t right_dir = frame[11]&0x80;

		uint8_t left_pwm = frame[10]&0x7F;
		uint8_t right_pwm = frame[11]&0x7F;

		if (left_dir==0x80)
			LeftMotor_reverse();
		else
			LeftMotor_forward();
		if (right_dir==0x80)
			RightMotor_reverse();
		else
			RightMotor_forward();

		__HAL_TIM_SET_COMPARE(&htim2,TIM_CHANNEL_2,left_pwm);
		__HAL_TIM_SET_COMPARE(&htim2,TIM_CHANNEL_1,right_pwm);

		if(rgb_flag)
		{
		Set_RGB_Green();
		rgb_flag=0;
		}
		else{
			Set_RGB_Yellow();
			rgb_flag=1;
		}

		rx_frame[10]=Frame_Success;
		break;
	}
	}
}

uint8_t GetUltrasonicData(uint8_t sensorID)
{
	switch(sensorID)
	{
	case 1:
		return 101;
	case 2:
		return 102;
	case 3:
		return 103;
	case 4:
		return 104;
	}
}

uint8_t GetBMM150MagnetoMeterData()
{
	return 105;
}

uint8_t GetTemperatureData()
{
	return 106;
}

uint8_t GetIMUData()
{
	return 108;
}

uint8_t GetProximityData()
{
	return 109;
}

uint8_t GetWheelEncoderData()
{
	return 112;
}

uint8_t GetLimitSwitchData()
{
	return 116;
}

uint8_t GetLEDStripData()
{
	return 117;
}

void LeftMotor_forward()
{
	HAL_GPIO_WritePin(GPIOC, GPIO_PIN_15, GPIO_PIN_SET);
}
void LeftMotor_reverse()
{
	HAL_GPIO_WritePin(GPIOC, GPIO_PIN_15, GPIO_PIN_RESET);
}
void RightMotor_forward()
{
	HAL_GPIO_WritePin(GPIOC, GPIO_PIN_14, GPIO_PIN_SET);
}
void RightMotor_reverse ()
{
	HAL_GPIO_WritePin(GPIOC, GPIO_PIN_14, GPIO_PIN_RESET);
}

/* USER CODE END 4 */

void Error_Handler(void)
{
	__disable_irq();
	while (1)
	{
	}
}
